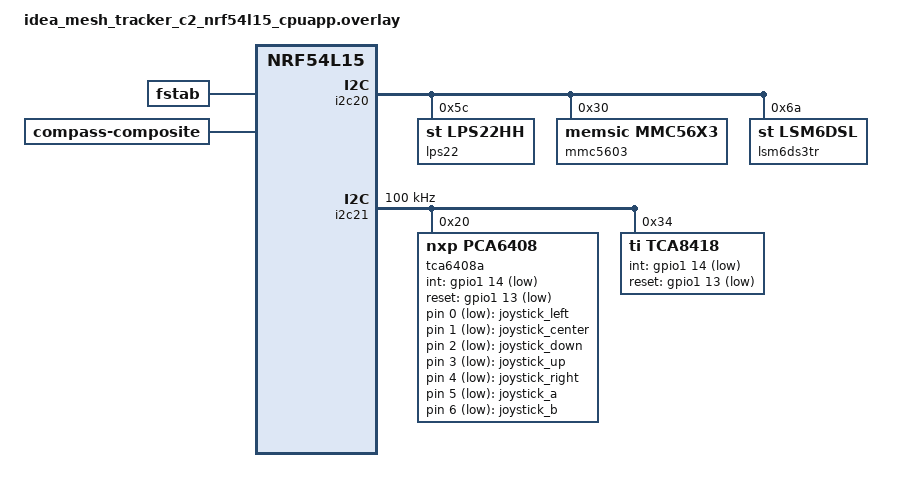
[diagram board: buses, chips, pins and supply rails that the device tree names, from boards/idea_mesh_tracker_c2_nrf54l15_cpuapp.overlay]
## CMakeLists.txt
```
# SPDX-FileCopyrightText: FoBE Studio
# SPDX-License-Identifier: Apache-2.0
cmake_minimum_required(VERSION 3.20.0)
# Loadable extensions need machine code, not the host's LTO intermediate
# objects. Set this before Zephyr captures the EDK compiler configuration.
list(APPEND LLEXT_EDK_REMOVE_FLAGS "-flto.*")
find_package(Zephyr REQUIRED HINTS $ENV{ZEPHYR_BASE})
project(meshbus)

if(NOT DEFINED meshbus_profile)
  message(FATAL_ERROR "Meshbus board profile was not loaded by ZephyrAppConfig.cmake")
endif()

if(BOARD STREQUAL "mesh_probe_r2" AND
   (NOT CONFIG_MBS_MANAGEMENT_OPERATOR OR
    CONFIG_MBS_MANAGEMENT_ENDPOINT OR CONFIG_MBS_FIRMWARE))
  message(FATAL_ERROR "Mesh Probe R2 requires Management operator only and no Firmware endpoint")
endif()

if(CONFIG_LTO AND CONFIG_LLEXT AND CMAKE_C_COMPILER_ID STREQUAL "GNU")
  # Zephyr's generated syscall export/weak-alias tables declare function
  # addresses as data symbols. GCC LTO cannot merge those declarations with
  # the real functions. Keep these two bridge objects as native code while
  # optimizing the firmware and preserving the complete LLEXT export table.
  set_property(SOURCE ${ZEPHYR_BASE}/subsys/llext/llext_export.c
    DIRECTORY ${ZEPHYR_BASE}/subsys/llext APPEND PROPERTY COMPILE_OPTIONS -fno-lto)
  set_property(SOURCE ${ZEPHYR_BINARY_DIR}/syscall_weakdefs_llext.c
    DIRECTORY ${ZEPHYR_BASE} APPEND PROPERTY COMPILE_OPTIONS -fno-lto)
endif()
target_sources(app PRIVATE src/main.c)
```

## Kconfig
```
# SPDX-FileCopyrightText: FoBE Studio
# SPDX-License-Identifier: Apache-2.0

mainmenu "Meshbus firmware application"

source "Kconfig.zephyr"

config MESHBUS_UART_MCUMGR_LOGGING
	bool "Require safe UART MCUmgr and logging coexistence"
	depends on UART_MCUMGR
	depends on MCUMGR_TRANSPORT_UART
	depends on !UART_MCUMGR_RAW_PROTOCOL
	depends on LOG_BACKEND_UART
	depends on LOG_MODE_DEFERRED
	depends on LOG_PROCESS_THREAD
	depends on LOG_PRINTK
	depends on !PRINTK_SYNC
	depends on !LOG_BACKEND_UART_ASYNC
	depends on !LOG_BACKEND_UART_OUTPUT_DICTIONARY
	depends on !MCUMGR_TRANSPORT_UART_ASYNC
	depends on !MBS_NOTIFY_TRANSPORT_SERIAL
	depends on PM_DEVICE_RUNTIME
	depends on LOG_PROCESS_THREAD_CUSTOM_PRIORITY
	depends on MCUMGR_TRANSPORT_WORKQUEUE_THREAD_PRIO < LOG_PROCESS_THREAD_PRIORITY
	help
	  Keep the shared console UART runtime-active so Base64 SMP frames remain
	  observable after deferred logging becomes idle.
```

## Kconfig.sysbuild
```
# SPDX-FileCopyrightText: FoBE Studio
# SPDX-License-Identifier: Apache-2.0

choice BOOTLOADER
	default BOOTLOADER_MCUBOOT if $(BOARD) = "mesh_probe_r2"
endchoice

config MERGED_HEX_FILES
	default y if $(BOARD) = "mesh_probe_r2"

choice MCUBOOT_MODE
	default MCUBOOT_MODE_SINGLE_APP if "$(BOARD)/$(BOARD_QUALIFIERS)" = "mesh_probe_r2/nrf54l15/cpuapp"
endchoice

choice BOOT_SIGNATURE_TYPE
	default BOOT_SIGNATURE_TYPE_NONE
endchoice

# Authenticated downstream products must supply their own key explicitly.
config BOOT_SIGNATURE_KEY_FILE
	default ""

source "$(ZEPHYR_BASE)/share/sysbuild/Kconfig"
```

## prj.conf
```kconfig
# SPDX-FileCopyrightText: FoBE Studio
# SPDX-License-Identifier: Apache-2.0

# Logging
CONFIG_PRINTK=y
CONFIG_LOG=y
CONFIG_LOG_MODE_DEFERRED=y
CONFIG_LOG_BACKEND_UART=y

# Kernel and common services
CONFIG_POLL=y
CONFIG_SHELL=n
CONFIG_HWINFO=y
CONFIG_REBOOT=y
CONFIG_RETAINED_MEM=y
CONFIG_PM_DEVICE=y
CONFIG_PM_DEVICE_RUNTIME=y
CONFIG_PM_DEVICE_POWER_DOMAIN=y
CONFIG_PM_DEVICE_RUNTIME_ASYNC=y
CONFIG_POWER_DOMAIN=y
CONFIG_NET_BUF=y
CONFIG_CRC=y

# Cryptography and encoding
CONFIG_PSA_CRYPTO=y
CONFIG_PSA_CRYPTO_PROVIDER_MBEDTLS=y
CONFIG_MBEDTLS_PSA_CRYPTO_C=y
CONFIG_PSA_WANT_KEY_TYPE_AES=y
CONFIG_PSA_WANT_ALG_ECB_NO_PADDING=y
CONFIG_PSA_WANT_KEY_TYPE_HMAC=y
CONFIG_PSA_WANT_ALG_HMAC=y
CONFIG_PSA_WANT_ALG_SHA_256=y
CONFIG_ZCBOR=y

# Storage and settings
CONFIG_FLASH=y
CONFIG_FLASH_MAP=y
CONFIG_FLASH_PAGE_LAYOUT=y
CONFIG_ZMS=y
CONFIG_ZMS_LOOKUP_CACHE=n
CONFIG_ZMS_LOOKUP_CACHE_FOR_SETTINGS=n
CONFIG_SETTINGS=y
CONFIG_SETTINGS_ZMS=y
CONFIG_SETTINGS_ZMS_LL_CACHE=y
CONFIG_SETTINGS_DYNAMIC_HANDLERS=y
CONFIG_SETTINGS_RUNTIME=y

# Messaging and statistics
CONFIG_STATS=y
CONFIG_ZBUS=y
CONFIG_ZBUS_MSG_SUBSCRIBER=y
CONFIG_ZBUS_RUNTIME_OBSERVERS=y

# Meshbus common services. Role-specific defaults live in Kconfig.
CONFIG_MBS=y
CONFIG_MBS_STATS=y
CONFIG_MBS_RADIO=y
CONFIG_MBS_MESHCORE=y
CONFIG_MBS_MESHCORE_RUNTIME=y
CONFIG_MBS_MANAGEMENT=y
```

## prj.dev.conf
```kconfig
# SPDX-FileCopyrightText: FoBE Studio
# SPDX-License-Identifier: Apache-2.0
# Keep board-required optimizations (including Wio's LTO) in development builds.
CONFIG_SIZE_OPTIMIZATIONS=y
```

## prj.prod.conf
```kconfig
# SPDX-FileCopyrightText: FoBE Studio
# SPDX-License-Identifier: Apache-2.0
CONFIG_SIZE_OPTIMIZATIONS=y
CONFIG_ISR_TABLES_LOCAL_DECLARATION=y
CONFIG_LTO=y
```

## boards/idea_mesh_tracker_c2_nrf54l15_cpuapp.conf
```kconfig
# SPDX-License-Identifier: Apache-2.0

# Peripherals
CONFIG_SENSOR=y
CONFIG_GPIO=y
CONFIG_PWM=y
CONFIG_SPI=y
CONFIG_I2C=y
CONFIG_ADC=y
CONFIG_LED=y
CONFIG_LED_PWM=n
CONFIG_SERIAL=y
CONFIG_UART_INTERRUPT_DRIVEN=y
CONFIG_USERSPACE=n
CONFIG_MPU=n
CONFIG_ARM_MPU=n

# Runtime resource budget
CONFIG_LOG_BUFFER_SIZE=1536
CONFIG_LOG_PRINTK=y
CONFIG_LOG_PROCESS_THREAD_CUSTOM_PRIORITY=y
CONFIG_LOG_PROCESS_THREAD_PRIORITY=14
CONFIG_LOG_BACKEND_UART_ASYNC=n
CONFIG_LOG_BACKEND_UART_OUTPUT_DICTIONARY=n
CONFIG_PRINTK_SYNC=n
CONFIG_ISR_STACK_SIZE=2048
CONFIG_MAIN_STACK_SIZE=4096
CONFIG_SYSTEM_WORKQUEUE_STACK_SIZE=4096
CONFIG_SYS_HEAP_INFO=y
CONFIG_SYS_HEAP_RUNTIME_STATS=y
CONFIG_ZBUS_MSG_SUBSCRIBER_NET_BUF_POOL_SIZE=8

# Input
CONFIG_INPUT=y
CONFIG_INPUT_GPIO_KEYS=y
CONFIG_INPUT_GPIO_QDEC=y
CONFIG_INPUT_THREAD_PRIORITY_OVERRIDE=y
CONFIG_INPUT_THREAD_PRIORITY=0
CONFIG_INPUT_QUEUE_MAX_MSGS=32
CONFIG_GPIO_PCA_SERIES=y
CONFIG_GPIO_PCA_SERIES_INTERRUPT=y
CONFIG_MBS_INPUT_BUTTON_MAX=10
CONFIG_MFD=y
CONFIG_MFD_TCA8418=y
CONFIG_INPUT_TCA8418=y
CONFIG_ZUI_TEXT_EDITOR_KEYPAD_MULTI_TAP=y
CONFIG_ZUI_TEXT_EDITOR_PREDICTIVE=y
CONFIG_ZUI_TEXT_EDITOR_PREDICTIVE_DICT_SIZE=65536

# GNSS
CONFIG_GNSS=y
CONFIG_GNSS_QUECTEL_L76K=y
CONFIG_GNSS_SATELLITES=y
CONFIG_GNSS_QUECTEL_L76K_UART_RX_BUF_SIZE=1024
CONFIG_MODEM_BACKEND_UART_ISR_RECEIVE_IDLE_TIMEOUT_MS=8
CONFIG_GNSS_QUECTEL_L76K_CHAT_RX_BUF_SIZE=512

# Radio
CONFIG_LORA=y
CONFIG_LORA_MODULE_BACKEND_LORA_BASICS_MODEM=y

# Storage and file system
CONFIG_FILE_SYSTEM=y
CONFIG_FILE_SYSTEM_LITTLEFS=y
CONFIG_FS_LITTLEFS_FC_HEAP_SIZE=2048

# Retention boot mode for MCUboot
CONFIG_RETENTION=y
CONFIG_RETENTION_BOOT_MODE=y

# MCUboot application image
# Sysbuild supplies the explicit Ed25519 image key and produces the signed slot0
# image selected by the runners metadata.
CONFIG_BOOTLOADER_MCUBOOT=y
CONFIG_MBS_FIRMWARE_IMAGE_IDENTITY=y
CONFIG_MCUBOOT_BOOTLOADER_MODE_SINGLE_APP=y

# Display and desktop
CONFIG_DISPLAY=y
CONFIG_U8G2=y
CONFIG_ZUI=y
CONFIG_ZUI_HEAP_SIZE=12288
CONFIG_ZUI_COMMON_ICONS=y
CONFIG_LLEXT_EXPORT_SYMBOL_GROUP_ZUI=y
CONFIG_LLEXT=y
CONFIG_MBS_DISPLAY=y
CONFIG_MBS_LLEXT=y
# Rebalance 5 KiB from the general heap for the shared Radio operation
# workqueue and UART MCUmgr resources. Limit a foreground app to 88 KiB so its
# 2% dynamic-heap margin still leaves at least 5 KiB of system-heap headroom.
CONFIG_HEAP_MEM_POOL_SIZE=97280
CONFIG_MBS_LLEXT_APP_MAX_HEAP_SIZE=90112
CONFIG_MBS_LLEXT_APP_HEAP_RESERVE_SIZE=90112
CONFIG_MBS_LLEXT_APP_SYSTEM_HEAP_HEADROOM_SIZE=5120
CONFIG_MBS_LLEXT_DYNAMIC_HEAP_MARGIN_PERCENT=2
CONFIG_MBS_DESKTOP=y
CONFIG_MBS_DESKTOP_DEVICE_NAME="Mesh Tracker C2"
CONFIG_MBS_DESKTOP_MANUFACTURER_NAME="FoBE Studio"
CONFIG_MBS_DESKTOP_MODEL_NAME="F2104,1a"
CONFIG_MBS_DESKTOP_LAUNCHER=y
CONFIG_MBS_DESKTOP_THREAD_STACK_SIZE=4096
CONFIG_MBS_RADIO_OPERATION_WORK_QUEUE_STACK_SIZE=1024

# MCUmgr
CONFIG_MCUMGR=y
CONFIG_BASE64=y
CONFIG_UART_MCUMGR=y
CONFIG_UART_MCUMGR_RX_BUF_SIZE=128
CONFIG_UART_MCUMGR_RX_BUF_COUNT=5
CONFIG_UART_MCUMGR_RAW_PROTOCOL=n
CONFIG_MCUMGR_TRANSPORT_UART=y
CONFIG_MCUMGR_TRANSPORT_UART_MTU=612
CONFIG_MCUMGR_TRANSPORT_UART_ASYNC=n
CONFIG_MCUMGR_TRANSPORT_BT=y
CONFIG_MCUMGR_TRANSPORT_BT_REASSEMBLY=y
CONFIG_MCUMGR_TRANSPORT_BT_PERM_RW_AUTHEN=y
CONFIG_MCUMGR_TRANSPORT_NETBUF_SIZE=612
CONFIG_MCUMGR_TRANSPORT_WORKQUEUE_STACK_SIZE=4096
CONFIG_MCUMGR_TRANSPORT_WORKQUEUE_THREAD_PRIO=3
CONFIG_MCUMGR_GRP_IMG=n
CONFIG_MCUMGR_GRP_OS=y
CONFIG_MCUMGR_GRP_OS_ECHO=y
CONFIG_MCUMGR_GRP_OS_INFO=y
CONFIG_MCUMGR_GRP_OS_BOOTLOADER_INFO=y
CONFIG_MCUMGR_GRP_OS_MCUMGR_PARAMS=y
CONFIG_MCUMGR_GRP_OS_RESET_BOOT_MODE=y
CONFIG_MCUMGR_GRP_FS=y
CONFIG_MCUMGR_GRP_FS_MAX_FILE_SIZE_4GB=y
CONFIG_MCUMGR_GRP_FS_FILE_STATUS=y
CONFIG_MCUMGR_GRP_FS_FILE_ACCESS_HOOK=y
CONFIG_MCUMGR_GRP_FS_CHECKSUM_HASH=y
CONFIG_MCUMGR_GRP_FS_HASH_SHA256=y
CONFIG_MCUMGR_GRP_ZBASIC=y
CONFIG_MCUMGR_GRP_ZBASIC_STORAGE_ERASE=y
CONFIG_MCUMGR_MGMT_NOTIFICATION_HOOKS=y
CONFIG_MBS_NOTIFY_TRANSPORT_SERIAL=n
CONFIG_MESHBUS_UART_MCUMGR_LOGGING=y

# Meshbus storage profile
CONFIG_MBS_POWER=y
CONFIG_MBS_INDICATOR=y
CONFIG_MBS_MANAGEMENT_OPERATOR=y
CONFIG_MBS_MANAGEMENT_ENDPOINT=n
CONFIG_MBS_CONTACT_MAX_CONTACTS=64
# Intentional current policy; reassess storage wear before product release.
CONFIG_MBS_CONTACT_ADVERT_RAW_STORE=y
CONFIG_MBS_CHANNEL_MAX_CHANNELS=64
CONFIG_MBS_MESSAGE_MAX_STORE_COUNT=10
CONFIG_MBS_MESSAGE_PENDING_SEND_COUNT=8

# MeshCore
CONFIG_MBS_MESHCORE=y
CONFIG_MBS_MESHCORE_DEFAULT_ROLE=1
CONFIG_MBS_MESHCORE_RUNTIME=y
CONFIG_MBS_MESHCORE_CLIENT=y
CONFIG_MBS_MESHCORE_COMPANION_PROTOCOL=y
CONFIG_MBS_MESHCORE_WORKQ_STACK_SIZE=8192
CONFIG_MBS_MESHCORE_REQUEST_QUEUE_DEPTH=8
CONFIG_MBS_MESHCORE_REQUEST_LARGE_QUEUE_DEPTH=2
CONFIG_MBS_MESHCORE_RADIO_RX_QUEUE_DEPTH=4

# Sensors
CONFIG_LSM6DSL_GYRO_ODR=4
CONFIG_LSM6DSL_ACCEL_ODR=4
CONFIG_LSM6DSL_ENABLE_TEMP=y
CONFIG_LSM6DSL_TRIGGER_NONE=y
CONFIG_COMPASS_COMPOSITE=y
CONFIG_MBS_GNSS_HEADING_SAMPLE_INTERVAL=50
CONFIG_MBS_GNSS_HEADING_PROVIDER_FAST_FREQUENCY=104
CONFIG_MBS_GNSS_HEADING_PROVIDER_SETTLE_MS=60

# Power
CONFIG_FUEL_GAUGE=y
CONFIG_FUEL_GAUGE_COMPOSITE=y
CONFIG_CHARGER=y
CONFIG_CHARGER_COMPOSITE=y

# Bluetooth
CONFIG_BT=y
CONFIG_BT_PERIPHERAL=y
CONFIG_BT_DEVICE_NAME="Meshbus"
CONFIG_BT_DEVICE_NAME_MAX=24
CONFIG_BT_RX_STACK_SIZE=2048
CONFIG_BT_APP_PASSKEY=y
CONFIG_BT_BONDABLE=y
CONFIG_BT_SETTINGS=y
CONFIG_BT_MAX_CONN=1
CONFIG_BT_MAX_PAIRED=5
CONFIG_BT_L2CAP_TX_MTU=247
CONFIG_BT_BUF_ACL_TX_SIZE=251
CONFIG_BT_BUF_ACL_RX_SIZE=251
CONFIG_BT_DIS=y
CONFIG_BT_DIS_MANUF_NAME=y
CONFIG_BT_DIS_MANUF_NAME_STR="FoBE Studio"
CONFIG_BT_DIS_MODEL_NUMBER=y
CONFIG_BT_DIS_MODEL_NUMBER_STR="F2104,1a"
CONFIG_BT_BAS=y
CONFIG_BT_TPS=y
CONFIG_MBS_MESHCORE_COMPANION_BLUETOOTH=y

# Flash
# RRAM settings writes are short and can safely run without BLE ticker
# synchronization here. The ticker-synchronized path can wait for the full
# Nordic flash timeout window when no radio slot is granted.
CONFIG_SOC_FLASH_NRF_RADIO_SYNC_NONE=y

# MCUmgr board-specific overrides
CONFIG_IMG_MANAGER=n
CONFIG_STREAM_FLASH=n
CONFIG_MCUMGR_GRP_OS_DATETIME=n
CONFIG_MCUMGR_GRP_OS_DATETIME_HOOK=n

# Device capabilities, independent of the selected MeshCore role.
CONFIG_MBS_INPUT=y
CONFIG_MBS_TELEMETRY=y
CONFIG_MBS_GNSS=y
CONFIG_MBS_CONTACT=y
CONFIG_MBS_CHANNEL=y
CONFIG_MBS_NOTIFY=y
CONFIG_MBS_MESSAGE=y
CONFIG_MBS_BLUETOOTH=y
CONFIG_MBS_CLOCK=y
```

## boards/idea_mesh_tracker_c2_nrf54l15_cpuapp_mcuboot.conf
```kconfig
# SPDX-License-Identifier: Apache-2.0

# Serial recovery
CONFIG_MCUBOOT_SERIAL=y
CONFIG_BOOT_SERIAL_UART=y
CONFIG_BOOT_SERIAL_ENTRANCE_GPIO=y
CONFIG_BOOT_SERIAL_BOOT_MODE=y
CONFIG_BOOT_SERIAL_NO_APPLICATION=y
CONFIG_ENABLE_MGMT_PERUSER=n
CONFIG_BOOT_SERIAL_IMG_GRP_HASH=y

# Keep the serial baud unchanged, but accept larger SMP serial fragments if
# the host transport sends them.
CONFIG_BOOT_MAX_LINE_INPUT_LEN=1024
CONFIG_BOOT_LINE_BUFS=8
CONFIG_BOOT_SERIAL_MAX_RECEIVE_SIZE=8192

# Avoid a fixed boot delay on every normal boot.
CONFIG_BOOT_SERIAL_WAIT_FOR_DFU=n

# Recovery is physical-only: UART through MCUboot or full replacement over SWD.
CONFIG_MCUBOOT_BOOT_BLUETOOTH=n
CONFIG_BT=n

# Flash
CONFIG_NRF_RRAM_WRITE_BUFFER_SIZE=4
CONFIG_FLASH_FILL_BUFFER_SIZE=512

# Boot validation
CONFIG_BOOT_VALIDATE_SLOT0=y
CONFIG_BOOT_INTR_VEC_RELOC=y
CONFIG_CRC=y

# System runtime
CONFIG_GPIO=y
CONFIG_HWINFO=y

# Keep console_read/write in separate objects so the local UART activity
# wrappers can observe serial recovery traffic.
CONFIG_LTO=n
CONFIG_MULTITHREADING=y
CONFIG_RETAINED_MEM=y
CONFIG_RETENTION=y
CONFIG_RETENTION_BOOT_MODE=y
CONFIG_UART_CONSOLE=n

# FoBE extensions
CONFIG_MCUBOOT_ACTION_HOOKS=y
CONFIG_MCUBOOT_INDICATOR=y

# Logging and banner
CONFIG_MCUBOOT_LOG_LEVEL_INF=y
CONFIG_BOOT_BANNER=y
CONFIG_MCUBOOT_BOOT_BANNER=y
```

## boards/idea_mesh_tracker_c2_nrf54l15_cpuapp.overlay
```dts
/*
 * Copyright (c) 2026 FoBE Studio
 *
 * SPDX-License-Identifier: Apache-2.0
 */

#include <dt-bindings/sensor/sensor_channel.h>
#include <zephyr/dt-bindings/input/input-event-codes.h>
#include <zephyr/dt-bindings/input/keymap.h>

/ {
	fstab: fstab {
		compatible = "zephyr,fstab";
		extra: extra {
			compatible = "zephyr,fstab,littlefs";
			automount;
			mount-point = "/extra";
			partition = <&extra_partition>;
			read-size = <16>;
			prog-size = <16>;
			cache-size = <128>;
			lookahead-size = <64>;
			block-cycles = <512>;
		};
	};

	compass: compass {
		compatible = "zephyr,compass-composite";
		status = "okay";
		accel-source = <&lsm6ds3tr>;
		gyro-source = <&lsm6ds3tr>;
		magn-source = <&mmc5603>;
		accel-channel = <SENSOR_CHAN_ACCEL_XYZ>;
		gyro-channel = <SENSOR_CHAN_GYRO_XYZ>;
		magn-channel = <SENSOR_CHAN_MAGN_XYZ>;
		source-startup-delay-ms = <25>;
		source-idle-timeout-ms = <0>;
		calibration-sample-period-ms = <100>;
		declination-milli-deg = <0>;
		mount-offset-milli-deg = <0>;
		gyro-fusion-alpha-milli = <400>;
		/* C2 FLU frame: +X front, +Y left, +Z up; both sensors are on the back. */
		accel-axis-remap = <1 0 2>;
		accel-axis-sign = <1 1 (-1)>;
		magn-axis-remap = <1 0 2>;
		magn-axis-sign = <1 1 (-1)>;
	};

	mbs_telemetry: meshbus-telemetry {
		compatible = "fobe,meshbus-telemetry";

		ch0 { sensor = <&lps22>; channel = <SENSOR_CHAN_AMBIENT_TEMP>; };
		ch1 { sensor = <&lps22>; channel = <SENSOR_CHAN_PRESS>; };
	};

	chosen {
		meshbus,indicator-light-active = &led0;
		meshbus,indicator-buzzer = &pwm20;
		meshbus,indicator-buzzer-power = &peripheral_power;
		meshbus,indicator-light-power = &peripheral_power;
		meshbus,compass = &compass;
		meshbus,telemetry = &mbs_telemetry;
		meshbus,fuel-gauge = &fuel_gauge;
		meshbus,charger = &charger;
		meshbus,power-button = &button0;
		meshbus,radio = &sx1262;
		meshbus,gnss = &l76k;
		meshbus,input-buttons = &buttons;
		meshbus,input-encoder = &encoder;
		meshbus,input-keypad = &keypad;
	};
};

&cpuapp_rram {
	/delete-node/ partitions;

	partitions {
		compatible = "fixed-partitions";
		#address-cells = <1>;
		#size-cells = <1>;
		ranges;

		boot_partition: partition@0 {
			label = "mcuboot";
			reg = <0x0 DT_SIZE_K(128)>;
		};

		slot0_partition: partition@20000 {
			label = "image-0";
			reg = <0x20000 DT_SIZE_K(1024)>;
		};

		storage_partition: partition@120000 {
			label = "storage";
			reg = <0x120000 DT_SIZE_K(128)>;
		};

		extra_partition: partition@140000 {
			label = "extra";
			reg = <0x140000 DT_SIZE_K(148)>;
		};
	};
};

/* Optional sensors populated by the C2 assembly. */
&i2c20 {
	lps22: lps22hh@5c {
		compatible = "st,lps22hh";
		reg = <0x5c>;
		odr = <1>;
		power-domains = <&peripheral_power>;
	};

	mmc5603: mmc5603@30 {
		compatible = "memsic,mmc56x3";
		reg = <0x30>;
		magn-odr = <0>;
		auto-self-reset;
		power-domains = <&peripheral_power>;
	};

	/* LSM6DS3TR-C uses the LSM6DSL-compatible register map. */
	lsm6ds3tr: lsm6ds3tr@6a {
		compatible = "st,lsm6dsl";
		reg = <0x6a>;
		power-domains = <&peripheral_power>;
	};
};

&button0 {
	zephyr,code = <INPUT_BTN_BACK>;
};

&button1 {
	zephyr,code = <INPUT_BTN_SELECT>;
};

&buttons {
	wakeup-source;

	joystick_left: joystick_left {
		gpios = <&tca6408a 0 GPIO_ACTIVE_LOW>;
		zephyr,code = <INPUT_KEY_LEFT>;
	};

	joystick_center: joystick_center {
		gpios = <&tca6408a 1 GPIO_ACTIVE_LOW>;
		zephyr,code = <INPUT_KEY_ENTER>;
	};

	joystick_down: joystick_down {
		gpios = <&tca6408a 2 GPIO_ACTIVE_LOW>;
		zephyr,code = <INPUT_KEY_DOWN>;
	};

	joystick_up: joystick_up {
		gpios = <&tca6408a 3 GPIO_ACTIVE_LOW>;
		zephyr,code = <INPUT_KEY_UP>;
	};

	joystick_right: joystick_right {
		gpios = <&tca6408a 4 GPIO_ACTIVE_LOW>;
		zephyr,code = <INPUT_KEY_RIGHT>;
	};

	joystick_a: joystick_a {
		gpios = <&tca6408a 5 GPIO_ACTIVE_LOW>;
		zephyr,code = <INPUT_BTN_SELECT>;
	};

	joystick_b: joystick_b {
		gpios = <&tca6408a 6 GPIO_ACTIVE_LOW>;
		zephyr,code = <INPUT_BTN_BACK>;
	};
};

&i2c21 {
	clock-frequency = <I2C_BITRATE_STANDARD>;

	tca6408a: tca6408a@20 {
		status = "okay";
		compatible = "nxp,pca6408";
		reg = <0x20>;
		gpio-controller;
		#gpio-cells = <2>;
		ngpios = <8>;
		int-gpios = <&gpio1 14 GPIO_ACTIVE_LOW>;
		reset-gpios = <&gpio1 13 (GPIO_OPEN_DRAIN | GPIO_PULL_UP | GPIO_ACTIVE_LOW)>;
		power-domains = <&peripheral_power>;
	};

	tca8418: tca8418@34 {
		status = "okay";
		compatible = "ti,tca8418";
		reg = <0x34>;
		int-gpios = <&gpio1 14 GPIO_ACTIVE_LOW>;
		reset-gpios = <&gpio1 13 (GPIO_OPEN_DRAIN | GPIO_PULL_UP | GPIO_ACTIVE_LOW)>;
		power-domains = <&peripheral_power>;

		tca8418_kbd: tca8418-kbd {
			status = "okay";
			compatible = "ti,tca8418-kbd";
			row-size = <3>;
			col-size = <4>;

			keypad: keymap {
				status = "okay";
				compatible = "input-keymap";
				keymap = <MATRIX_KEY(0, 0, INPUT_KEY_1)
						  MATRIX_KEY(0, 1, INPUT_KEY_2)
						  MATRIX_KEY(0, 2, INPUT_KEY_3)
						  MATRIX_KEY(0, 3, INPUT_KEY_KPDOT)
						  MATRIX_KEY(1, 0, INPUT_KEY_4)
						  MATRIX_KEY(1, 1, INPUT_KEY_5)
						  MATRIX_KEY(1, 2, INPUT_KEY_6)
						  MATRIX_KEY(1, 3, INPUT_KEY_0)
						  MATRIX_KEY(2, 0, INPUT_KEY_7)
						  MATRIX_KEY(2, 1, INPUT_KEY_8)
						  MATRIX_KEY(2, 2, INPUT_KEY_9)
						  MATRIX_KEY(2, 3, INPUT_KEY_KPASTERISK)>;
				row-size = <3>;
				col-size = <4>;
			};
		};
	};
};
```

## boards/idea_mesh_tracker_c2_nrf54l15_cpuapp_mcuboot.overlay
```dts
/*
 * Copyright (c) 2026 FoBE Studio
 *
 * SPDX-License-Identifier: Apache-2.0
 */

/*
 * MCUboot only needs the recovery UART, boot mode retention, and status
 * indication path. Keep application peripherals out of the bootloader image.
 */
/ {

	chosen {
		zephyr,code-partition = &boot_partition;
		/delete-property/ zephyr,display;
	};
};

&peripheral_power {
	status = "disabled";
};

&i2c20 {
	status = "disabled";
};

&ssd1306 {
	status = "disabled";
};

&encoder {
	status = "disabled";
};

&vbatt {
	status = "disabled";
};

&fuel_gauge {
	status = "disabled";
};

&charger {
	status = "disabled";
};

&i2c21 {
	status = "disabled";
};

&spi00 {
	status = "disabled";
};

&sx1262 {
	status = "disabled";
};

&adc {
	status = "disabled";
};

&pwm20 {
	status = "disabled";
};

&uart22 {
	status = "disabled";
};

&l76k {
	status = "disabled";
};

&cpuapp_rram {
	/delete-node/ partitions;

	partitions {
		compatible = "fixed-partitions";
		#address-cells = <1>;
		#size-cells = <1>;
		ranges;

		boot_partition: partition@0 {
			label = "mcuboot";
			reg = <0x0 DT_SIZE_K(128)>;
		};

		/*
		 * Stable C2 recovery ABI: [0x20000, 0x165000) is the entire
		 * CPUAPP application allocation. MCUboot intentionally does not
		 * encode the application's slot/storage/extra boundaries, so the
		 * application may repartition this window without reflashing the
		 * bootloader. Recovery is destructive: an upload may overwrite any
		 * application-owned data in the window. Progressive erase touches
		 * only sectors reached by the upload. The top 96 KiB FLPR allocation
		 * is outside this range.
		 */
		slot0_partition: partition@20000 {
			label = "image-0";
			reg = <0x20000 DT_SIZE_K(1300)>;
		};
	};
};
```

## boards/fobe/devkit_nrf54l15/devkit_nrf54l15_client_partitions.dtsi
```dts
/* Copyright (c) 2026 FoBE Studio; SPDX-License-Identifier: Apache-2.0 */

/ {
	fstab: fstab {
		compatible = "zephyr,fstab";

		extra: extra {
			compatible = "zephyr,fstab,littlefs";
			automount;
			mount-point = "/extra";
			partition = <&extra_partition>;
			read-size = <16>;
			prog-size = <16>;
			cache-size = <128>;
			lookahead-size = <64>;
			block-cycles = <512>;
		};
	};
};

&cpuapp_rram {
	/delete-node/ partitions;

	partitions {
		compatible = "fixed-partitions";
		#address-cells = <1>;
		#size-cells = <1>;
		ranges;

		boot_partition: partition@0 {
			label = "mcuboot";
			reg = <0x0 DT_SIZE_K(128)>;
		};

		slot0_partition: partition@20000 {
			label = "image-0";
			reg = <0x20000 DT_SIZE_K(1024)>;
		};

		storage_partition: partition@120000 {
			label = "storage";
			reg = <0x120000 DT_SIZE_K(128)>;
		};

		extra_partition: partition@140000 {
			label = "extra";
			reg = <0x140000 DT_SIZE_K(148)>;
		};
	};
};
```

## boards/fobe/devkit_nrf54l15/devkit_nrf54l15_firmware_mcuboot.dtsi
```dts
/* Copyright (c) 2026 FoBE Studio; SPDX-License-Identifier: Apache-2.0 */

#include "devkit_nrf54l15_firmware_partitions.dtsi"

/ {
	chosen {
		zephyr,code-partition = &boot_partition;
	};
};

&i2c20 {
	status = "disabled";
};

&spi00 {
	status = "disabled";
};

&adc {
	status = "disabled";
};
```

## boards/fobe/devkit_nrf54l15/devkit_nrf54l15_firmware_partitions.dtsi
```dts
/* Copyright (c) 2026 FoBE Studio; SPDX-License-Identifier: Apache-2.0 */

/* Meshbus FIRMWARE partition ABI 1 for the 1524 KiB CPUAPP RRAM. */
&cpuapp_rram {
	/delete-node/ partitions;

	partitions {
		compatible = "fixed-partitions";
		#address-cells = <1>;
		#size-cells = <1>;
		ranges;

		boot_partition: partition@0 {
			label = "mcuboot";
			reg = <0x000000 DT_SIZE_K(128)>;
		};
		slot0_partition: partition@20000 {
			label = "image-0";
			reg = <0x020000 DT_SIZE_K(600)>;
		};
		slot1_partition: partition@b6000 {
			label = "image-1";
			reg = <0x0b6000 DT_SIZE_K(604)>;
		};
		storage_partition: partition@14d000 {
			label = "storage";
			reg = <0x14d000 DT_SIZE_K(128)>;
		};
		firmware_patch_partition: partition@16d000 {
			label = "firmware-patch";
			reg = <0x16d000 DT_SIZE_K(24)>;
		};
		firmware_journal_partition: partition@173000 {
			label = "firmware-journal";
			reg = <0x173000 DT_SIZE_K(16)>;
		};
		firmware_growth_partition: partition@177000 {
			label = "firmware-reserved-growth";
			reg = <0x177000 DT_SIZE_K(24)>;
		};
	};
};
```

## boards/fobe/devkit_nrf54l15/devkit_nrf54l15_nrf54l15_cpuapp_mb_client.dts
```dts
/* SPDX-License-Identifier: Apache-2.0 */

/dts-v1/;
#include "devkit_nrf54l15_nrf54l15_cpuapp_meshbus_common.dtsi"
#include "devkit_nrf54l15_client_partitions.dtsi"
```

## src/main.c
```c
/*
 * Copyright (c) 2025 FoBE Projects
 *
 * SPDX-License-Identifier: Apache-2.0
 */

#include <zephyr/app_version.h>
#include <zephyr/logging/log.h>

#include <zephyr/device.h>
#include <zephyr/devicetree.h>
#include <zephyr/pm/device_runtime.h>
#include <meshcore/meshcore.h>
#if defined(CONFIG_MBS_INDICATOR)
#include <indicator/indicator.h>
#include <zephyr/kernel.h>
#if defined(CONFIG_MBS_MESSAGE)
#include <message/message.h>
#endif
#if defined(CONFIG_MBS_RADIO)
#include <radio/radio.h>
#endif
static void startup_check(struct k_work *work);
K_WORK_DELAYABLE_DEFINE(startup_check_work, startup_check);
static void startup_check(struct k_work *work)
{
	ARG_UNUSED(work);
	bool ready = true;
#if defined(CONFIG_MBS_MESHCORE)
	ready = ready && mbs_meshcore_runtime_is_ready();
#endif
#if defined(CONFIG_MBS_MESSAGE)
	ready = ready && mbs_message_is_ready();
#endif
#if defined(CONFIG_MBS_RADIO)
	struct mbs_radio_health_event health;
	ready = ready && mbs_radio_health_get(&health) == 0 && health.ready;
#endif
	mbs_indicator_startup_complete(ready);
	if (!ready) {
		(void)k_work_schedule(&startup_check_work, K_SECONDS(1));
	}
}
#endif

LOG_MODULE_REGISTER(meshbus_app, LOG_LEVEL_INF);

int main(void)
{
	LOG_INF("Meshbus firmware version: %s", APP_VERSION_STRING);

#ifdef CONFIG_BOOTLOADER_MCUBOOT
	LOG_INF("MCUboot bootloader support enabled");
#endif

#if defined(CONFIG_MESHBUS_UART_MCUMGR_LOGGING)
	const struct device *uart = DEVICE_DT_GET(DT_CHOSEN(zephyr_uart_mcumgr));

	if (!device_is_ready(uart) || pm_device_runtime_get(uart) < 0) {
		LOG_ERR("Unable to keep UART MCUmgr transport active");
	}
#endif
#if defined(CONFIG_MBS_MESHCORE)
	LOG_INF("MESHBUS_READY active_role=%u", (unsigned int)mbs_meshcore_active_role_get());
#else
	LOG_INF("MESHBUS_READY");
#endif
#if defined(CONFIG_MBS_INDICATOR)
	(void)k_work_schedule(&startup_check_work, K_NO_WAIT);
#endif
	return 0;
}
```
